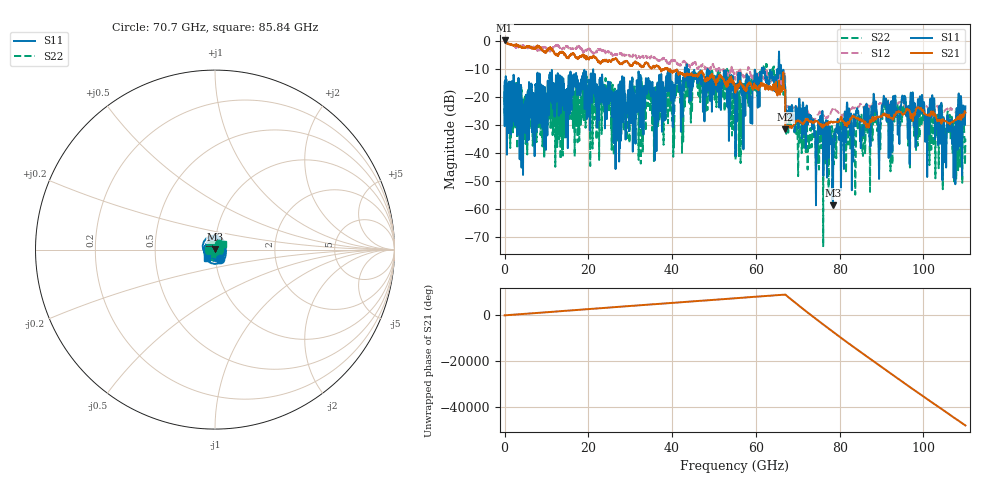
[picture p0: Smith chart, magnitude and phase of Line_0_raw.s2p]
#  HZ  S  RI  R  50.00
! Rohde & Schwarz ZVA67 4Ports - Version 4.11 - 1305.7002k04 SN: 101032
! Date: 2026-02-18 15:00:35
! Measurements: S11 S21 S12 S22
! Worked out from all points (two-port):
!   5500 points, 20 MHz to 110 GHz, reference 50 ohm
!   highest |S21| = 0.05 dB at 20 MHz (marker M1); lowest = -31.6 dB at 67.02 GHz (marker M2)
!   |S21| within 3 dB of the highest: start of sweep to 7.38 GHz; 7.38 GHz to 8.78 GHz (1.4 GHz wide, 17.3 % of centre)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
!   lowest |S11| = -58.7 dB at 78.38 GHz (marker M3), VSWR 1.00, Z = 50.1 + j0.0793 ohm
!   |S11| at or under -10 dB: start of sweep to 43.05 GHz; 43.58 GHz to 61.42 GHz (17.84 GHz wide, 34 % of centre); 66.01 GHz to end of sweep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
!   |S22| runs from -73.1 to -7.6 dB; largest |S21 - S12| = 1.9
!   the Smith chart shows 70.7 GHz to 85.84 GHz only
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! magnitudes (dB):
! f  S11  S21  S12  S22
! 20 MHz  -14.9  0.0  -0.5  -15.8
! 4.54 GHz  -26.9  -2.6  -1.8  -32.5
! 7.9 GHz  -11.9  -2.0  -3.2  -15.7
! 9.68 GHz  -23.2  -4.2  -2.3  -20.6
! 18.36 GHz  -14.8  -5.4  -2.9  -21.4
! 26.54 GHz  -32.3  -6.5  -5.0  -25.7
! 36.68 GHz  -28.4  -9.1  -7.0  -29.4
! 45.56 GHz  -13.3  -12.6  -7.7  -12.7
! 55.02 GHz  -16.4  -17.2  -13.3  -18.4
! 56.34 GHz  -12.6  -15.2  -10.8  -43.6
! 62.1 GHz  -11.0  -16.0  -13.4  -10.3
! 65.96 GHz  -8.6  -16.8  -14.8  -11.2
! 67.02 GHz  -22.3  -31.6  -23.5  -27.0
! 73.34 GHz  -29.0  -29.1  -27.5  -37.5
! 78.38 GHz  -58.7  -29.2  -24.3  -38.3
! 81.74 GHz  -22.1  -30.5  -25.2  -24.5
! 83.4 GHz  -26.2  -27.2  -24.1  -31.7
! 84.68 GHz  -27.2  -28.4  -23.4  -27.0
! 91.68 GHz  -41.8  -26.7  -21.5  -31.8
! 102.1 GHz  -19.5  -26.3  -27.3  -24.4
! 107.2 GHz  -47.9  -28.8  -24.8  -29.3
! 110 GHz  -23.4  -25.6  -26.4  -34.9
